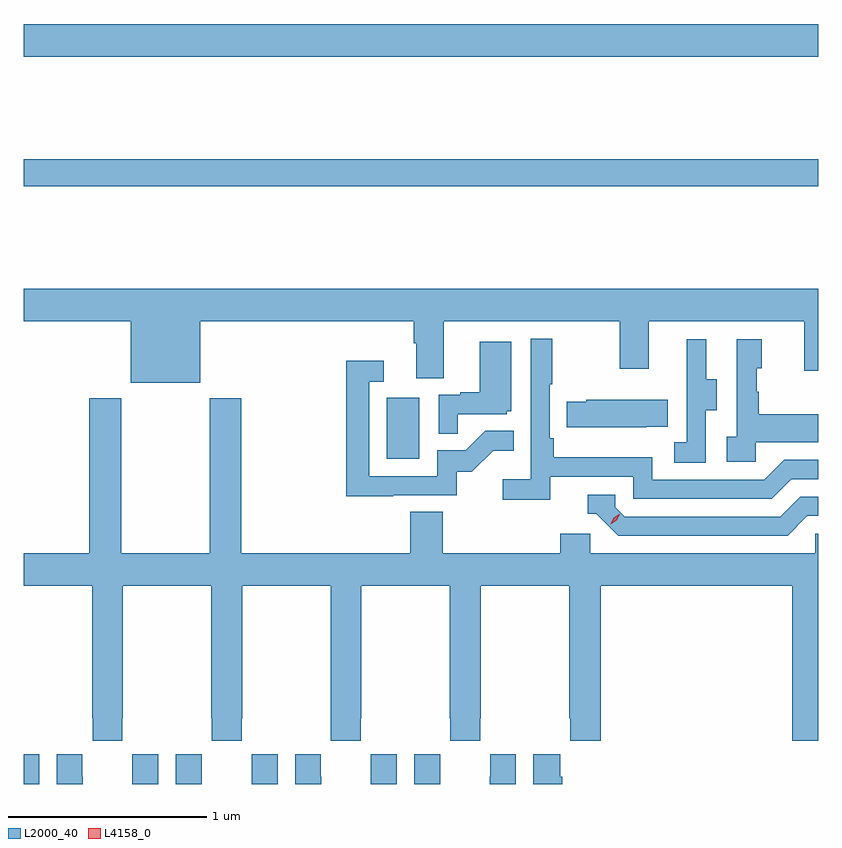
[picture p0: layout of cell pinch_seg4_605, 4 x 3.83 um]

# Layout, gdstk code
import gdstk
lib = gdstk.Library(unit=1e-6, precision=1e-09)
def R(c, l, rs):  # rectangles x0, y0, x1, y1
    for r in rs: c.add(gdstk.rectangle(r[:2], r[2:], *l))
def P(c, l, *ps):  # polygons
    for p in ps: c.add(gdstk.Polygon(p, *l))
L2000_40 = (2000, 40)
L4158_0 = (4158, 0)

pinch_seg4_605 = lib.new_cell('pinch_seg4_605')
R(pinch_seg4_605, L2000_40, [(1020.19,769.183,1020.268,769.333), (1022.018,770.82,1022.182,771.127), (1020.19,772.192,1024.19,772.328), (1020.19,772.844,1024.19,773.008)])
P(pinch_seg4_605, L2000_40, [(1021.078,771.512),(1022.153,771.512),(1022.153,771.4),(1022.165,771.4),(1022.165,771.226),(1022.305,771.226),(1022.305,771.512),(1023.19,771.512),(1023.19,771.273),(1023.337,771.273),(1023.337,771.512),(1024.118,771.512),(1024.118,771.264),(1024.19,771.264),(1024.19,771.676),(1020.19,771.676),(1020.19,771.512),(1020.728,771.512),(1020.728,771.203),(1021.078,771.203)],
  [(1022.84,770.73),(1023.258,770.73),(1023.258,770.619),(1023.955,770.619),(1024.054,770.718),(1024.19,770.718),(1024.19,770.814),(1024.017,770.814),(1023.918,770.715),(1023.354,770.715),(1023.354,770.827),(1022.858,770.827),(1022.858,770.923),(1022.838,770.923),(1022.838,771.196),(1022.851,771.196),(1022.851,771.424),(1022.742,771.424),(1022.742,770.716),(1022.601,770.716),(1022.601,770.614),(1022.84,770.614)],
  [(1023.876,770.903),(1024.19,770.903),(1024.19,771.043),(1023.889,771.043),(1023.889,771.158),(1023.879,771.158),(1023.879,771.276),(1023.904,771.276),(1023.904,771.421),(1023.78,771.421),(1023.78,770.93),(1023.729,770.93),(1023.729,770.805),(1023.876,770.805)],
  [(1023.624,771.064),(1023.679,771.064),(1023.679,771.219),(1023.625,771.219),(1023.625,771.421),(1023.527,771.421),(1023.527,771.207),(1023.528,771.207),(1023.528,770.903),(1023.465,770.903),(1023.465,770.8),(1023.624,770.8)],
  [(1022.375,771.045),(1022.622,771.045),(1022.622,771.06),(1022.644,771.06),(1022.644,771.409),(1022.486,771.409),(1022.486,771.154),(1022.387,771.154),(1022.387,771.141),(1022.28,771.141),(1022.28,770.947),(1022.375,770.947)],
  [(1022.051,770.637),(1022.37,770.637),(1022.37,770.754),(1022.446,770.754),(1022.553,770.861),(1022.657,770.861),(1022.657,770.96),(1022.513,770.96),(1022.415,770.862),(1022.271,770.862),(1022.271,770.733),(1021.929,770.733),(1021.929,771.207),(1022.002,771.207),(1022.002,771.313),(1021.813,771.313),(1021.813,770.632),(1022.051,770.632)],
  [(1020.687,769.513),(1020.69,769.513),(1020.69,770.18),(1021.135,770.18),(1021.135,769.513),(1021.137,769.513),(1021.137,769.401),(1021.287,769.401),(1021.287,769.513),(1021.29,769.513),(1021.29,770.18),(1021.735,770.18),(1021.735,769.513),(1021.737,769.513),(1021.737,769.401),(1021.887,769.401),(1021.887,769.513),(1021.89,769.513),(1021.89,770.18),(1022.335,770.18),(1022.335,769.513),(1022.337,769.513),(1022.337,769.401),(1022.487,769.401),(1022.487,769.513),(1022.49,769.513),(1022.49,770.18),(1022.935,770.18),(1022.935,769.513),(1022.941,769.513),(1022.941,769.401),(1023.095,769.401),(1023.095,770.18),(1024.058,770.18),(1024.058,769.401),(1024.19,769.401),(1024.19,770.442),(1024.173,770.442),(1024.173,770.344),(1023.042,770.344),(1023.042,770.442),(1022.891,770.442),(1022.891,770.344),(1022.3,770.344),(1022.3,770.552),(1022.135,770.552),(1022.135,770.344),(1021.286,770.344),(1021.286,771.124),(1021.126,771.124),(1021.126,770.344),(1020.681,770.344),(1020.681,771.124),(1020.521,771.124),(1020.521,770.344),(1020.19,770.344),(1020.19,770.18),(1020.535,770.18),(1020.535,769.513),(1020.537,769.513),(1020.537,769.401),(1020.687,769.401)],
  [(1023.323,770.981),(1023.431,770.981),(1023.431,771.118),(1023.021,771.118),(1023.021,771.108),(1022.923,771.108),(1022.923,770.978),(1023.323,770.978)],
  [(1024.135,770.532),(1024.19,770.532),(1024.19,770.628),(1024.098,770.628),(1023.999,770.529),(1023.216,770.529),(1023.168,770.577),(1023.168,770.64),(1023.029,770.64),(1023.029,770.544),(1023.072,770.544),(1023.183,770.433),(1024.036,770.433)],
  [(1020.487,769.22),(1020.486,769.22),(1020.486,769.333),(1020.356,769.333),(1020.356,769.183),(1020.487,769.183)],
  [(1022.068,769.333),(1021.938,769.333),(1021.938,769.22),(1021.937,769.22),(1021.937,769.183),(1022.068,769.183)],
  [(1020.868,769.333),(1020.738,769.333),(1020.738,769.22),(1020.737,769.22),(1020.737,769.183),(1020.868,769.183)],
  [(1021.468,769.333),(1021.338,769.333),(1021.338,769.22),(1021.337,769.22),(1021.337,769.183),(1021.468,769.183)],
  [(1021.687,769.22),(1021.686,769.22),(1021.686,769.333),(1021.556,769.333),(1021.556,769.183),(1021.687,769.183)],
  [(1022.9,769.22),(1022.89,769.22),(1022.89,769.333),(1022.756,769.333),(1022.756,769.183),(1022.9,769.183)],
  [(1022.668,769.333),(1022.538,769.333),(1022.538,769.22),(1022.537,769.22),(1022.537,769.183),(1022.668,769.183)],
  [(1022.287,769.22),(1022.286,769.22),(1022.286,769.333),(1022.156,769.333),(1022.156,769.183),(1022.287,769.183)],
  [(1021.087,769.22),(1021.086,769.22),(1021.086,769.333),(1020.956,769.333),(1020.956,769.183),(1021.087,769.183)])
P(pinch_seg4_605, L4158_0, [(1023.145,770.491),(1023.145,770.492),(1023.16,770.524),(1023.19,770.544),(1023.19,770.544),(1023.19,770.543),(1023.175,770.511),(1023.145,770.491)])

lib.write_gds('pinch_seg4_605.gds')
